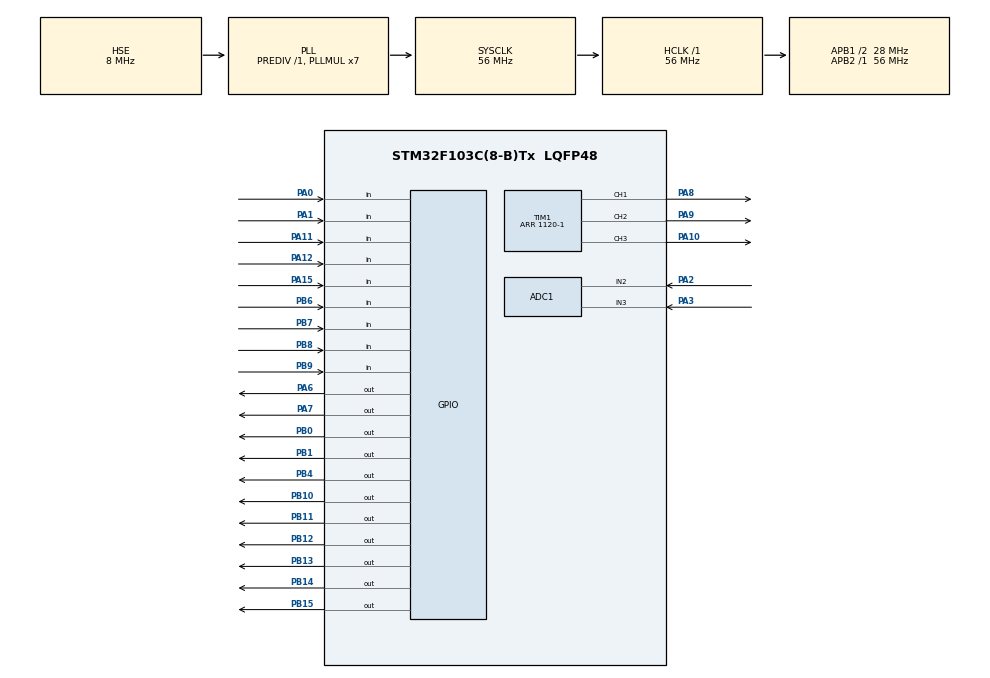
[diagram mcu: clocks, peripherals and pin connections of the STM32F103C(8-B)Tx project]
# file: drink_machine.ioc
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ADC1.Channel-0\#ChannelRegularConversion=ADC_CHANNEL_2
ADC1.Channel-1\#ChannelRegularConversion=ADC_CHANNEL_2
ADC1.Channel-10\#ChannelRegularConversion=ADC_CHANNEL_3
ADC1.Channel-11\#ChannelRegularConversion=ADC_CHANNEL_3
ADC1.Channel-12\#ChannelRegularConversion=ADC_CHANNEL_3
ADC1.Channel-13\#ChannelRegularConversion=ADC_CHANNEL_3
ADC1.Channel-14\#ChannelRegularConversion=ADC_CHANNEL_3
ADC1.Channel-15\#ChannelRegularConversion=ADC_CHANNEL_3
ADC1.Channel-2\#ChannelRegularConversion=ADC_CHANNEL_2
ADC1.Channel-3\#ChannelRegularConversion=ADC_CHANNEL_2
ADC1.Channel-4\#ChannelRegularConversion=ADC_CHANNEL_2
ADC1.Channel-5\#ChannelRegularConversion=ADC_CHANNEL_2
ADC1.Channel-6\#ChannelRegularConversion=ADC_CHANNEL_2
ADC1.Channel-7\#ChannelRegularConversion=ADC_CHANNEL_2
ADC1.Channel-8\#ChannelRegularConversion=ADC_CHANNEL_3
ADC1.Channel-9\#ChannelRegularConversion=ADC_CHANNEL_3
ADC1.ContinuousConvMode=ENABLE
ADC1.DiscontinuousConvMode=DISABLE
ADC1.NbrOfConversion=16
ADC1.NbrOfConversionFlag=1
ADC1.Rank-0\#ChannelRegularConversion=1
ADC1.Rank-1\#ChannelRegularConversion=2
ADC1.Rank-10\#ChannelRegularConversion=11
ADC1.Rank-11\#ChannelRegularConversion=12
ADC1.Rank-12\#ChannelRegularConversion=13
ADC1.Rank-13\#ChannelRegularConversion=14
ADC1.Rank-14\#ChannelRegularConversion=15
ADC1.Rank-15\#ChannelRegularConversion=16
ADC1.Rank-2\#ChannelRegularConversion=3
ADC1.Rank-3\#ChannelRegularConversion=4
ADC1.Rank-4\#ChannelRegularConversion=5
ADC1.Rank-5\#ChannelRegularConversion=6
ADC1.Rank-6\#ChannelRegularConversion=7
ADC1.Rank-7\#ChannelRegularConversion=8
ADC1.Rank-8\#ChannelRegularConversion=9
ADC1.Rank-9\#ChannelRegularConversion=10
ADC1.SamplingTime-0\#ChannelRegularConversion=ADC_SAMPLETIME_239CYCLES_5
ADC1.SamplingTime-1\#ChannelRegularConversion=ADC_SAMPLETIME_239CYCLES_5
ADC1.SamplingTime-10\#ChannelRegularConversion=ADC_SAMPLETIME_239CYCLES_5
ADC1.SamplingTime-11\#ChannelRegularConversion=ADC_SAMPLETIME_239CYCLES_5
ADC1.SamplingTime-12\#ChannelRegularConversion=ADC_SAMPLETIME_239CYCLES_5
ADC1.SamplingTime-13\#ChannelRegularConversion=ADC_SAMPLETIME_239CYCLES_5
ADC1.SamplingTime-14\#ChannelRegularConversion=ADC_SAMPLETIME_239CYCLES_5
ADC1.SamplingTime-15\#ChannelRegularConversion=ADC_SAMPLETIME_239CYCLES_5
ADC1.SamplingTime-2\#ChannelRegularConversion=ADC_SAMPLETIME_239CYCLES_5
ADC1.SamplingTime-3\#ChannelRegularConversion=ADC_SAMPLETIME_239CYCLES_5
ADC1.SamplingTime-4\#ChannelRegularConversion=ADC_SAMPLETIME_239CYCLES_5
ADC1.SamplingTime-5\#ChannelRegularConversion=ADC_SAMPLETIME_239CYCLES_5
ADC1.SamplingTime-6\#ChannelRegularConversion=ADC_SAMPLETIME_239CYCLES_5
ADC1.SamplingTime-7\#ChannelRegularConversion=ADC_SAMPLETIME_239CYCLES_5
ADC1.SamplingTime-8\#ChannelRegularConversion=ADC_SAMPLETIME_239CYCLES_5
ADC1.SamplingTime-9\#ChannelRegularConversion=ADC_SAMPLETIME_239CYCLES_5
ADC1.master=1
Dma.ADC1.0.Direction=DMA_PERIPH_TO_MEMORY
Dma.ADC1.0.Instance=DMA1_Channel1
Dma.ADC1.0.MemDataAlignment=DMA_MDATAALIGN_WORD
Dma.ADC1.0.MemInc=DMA_MINC_ENABLE
Dma.ADC1.0.Mode=DMA_CIRCULAR
Dma.ADC1.0.PeriphDataAlignment=DMA_PDATAALIGN_WORD
Dma.ADC1.0.PeriphInc=DMA_PINC_DISABLE
Dma.ADC1.0.Priority=DMA_PRIORITY_LOW
Dma.Request0=ADC1
Mcu.Family=STM32F1
Mcu.Name=STM32F103C(8-B)Tx
Mcu.Package=LQFP48
NVIC.DMA1_Channel1_IRQn=true\:0\:0\:false\:false\:true\:false\:true
NVIC.PriorityGroup=NVIC_PRIORITYGROUP_4
PA0-WKUP.GPIO_PuPd=GPIO_PULLDOWN
PA0-WKUP.Signal=GPIO_Input
PA1.GPIO_PuPd=GPIO_PULLDOWN
PA1.Signal=GPIO_Input
PA10.Signal=S_TIM1_CH3
PA11.GPIO_PuPd=GPIO_PULLDOWN
PA11.Signal=GPIO_Input
PA12.GPIO_PuPd=GPIO_PULLDOWN
PA12.Signal=GPIO_Input
PA13.Mode=Serial_Wire
PA13.Signal=SYS_JTMS-SWDIO
PA14.Mode=Serial_Wire
PA14.Signal=SYS_JTCK-SWCLK
PA15.GPIO_PuPd=GPIO_PULLDOWN
PA15.Signal=GPIO_Input
PA2.Signal=ADCx_IN2
PA3.Signal=ADCx_IN3
PA6.Signal=GPIO_Output
PA7.Signal=GPIO_Output
PA8.Signal=S_TIM1_CH1
PA9.Signal=S_TIM1_CH2
PB0.Signal=GPIO_Output
PB1.Signal=GPIO_Output
PB10.Signal=GPIO_Output
PB11.Signal=GPIO_Output
PB12.Signal=GPIO_Output
PB13.Signal=GPIO_Output
PB14.Signal=GPIO_Output
PB15.Signal=GPIO_Output
PB4.Signal=GPIO_Output
PB6.GPIO_PuPd=GPIO_PULLDOWN
PB6.Signal=GPIO_Input
PB7.GPIO_PuPd=GPIO_PULLDOWN
PB7.Signal=GPIO_Input
PB8.GPIO_PuPd=GPIO_PULLDOWN
PB8.Signal=GPIO_Input
PB9.GPIO_PuPd=GPIO_PULLDOWN
PB9.Signal=GPIO_Input
PD0-OSC_IN.Mode=HSE-External-Oscillator
PD0-OSC_IN.Signal=RCC_OSC_IN
PD1-OSC_OUT.Mode=HSE-External-Oscillator
PD1-OSC_OUT.Signal=RCC_OSC_OUT
ProjectManager.HeapSize=0x200
ProjectManager.StackSize=0x400
ProjectManager.TargetToolchain=STM32CubeIDE
RCC.ADCPresc=RCC_ADCPCLK2_DIV4
RCC.AHBFreq_Value=56000000
RCC.APB1CLKDivider=RCC_HCLK_DIV2
RCC.APB1Freq_Value=28000000
RCC.APB1TimFreq_Value=56000000
RCC.APB2Freq_Value=56000000
RCC.APB2TimFreq_Value=56000000
RCC.HCLKFreq_Value=56000000
RCC.PLLMUL=RCC_PLL_MUL7
RCC.PLLSourceVirtual=RCC_PLLSOURCE_HSE
RCC.SYSCLKFreq_VALUE=56000000
RCC.SYSCLKSource=RCC_SYSCLKSOURCE_PLLCLK
RCC.USBFreq_Value=56000000
SH.ADCx_IN2.0=ADC1_IN2,IN2
SH.ADCx_IN3.0=ADC1_IN3,IN3
SH.S_TIM1_CH1.0=TIM1_CH1,PWM Generation1 CH1
SH.S_TIM1_CH2.0=TIM1_CH2,PWM Generation2 CH2
SH.S_TIM1_CH3.0=TIM1_CH3,PWM Generation3 CH3
TIM1.AutoReloadPreload=TIM_AUTORELOAD_PRELOAD_ENABLE
TIM1.Channel-PWM\ Generation1\ CH1=TIM_CHANNEL_1
TIM1.Channel-PWM\ Generation2\ CH2=TIM_CHANNEL_2
TIM1.Channel-PWM\ Generation3\ CH3=TIM_CHANNEL_3
TIM1.Period=1120-1
VP_RTC_VS_RTC_Activate.Mode=RTC_Enabled
VP_TIM1_VS_ClockSourceINT.Mode=Internal
board=custom

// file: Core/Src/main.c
/* USER CODE BEGIN Header */
/**
 ******************************************************************************
 * @file           : main.c
 * @brief          : Main program body
 ******************************************************************************
 * @attention
 *
 * <h2><center>&copy; Copyright (c) 2020 STMicroelectronics.
 * All rights reserved.</center></h2>
 *
 * This software component is licensed by ST under BSD 3-Clause license,
 * the "License"; You may not use this file except in compliance with the
 * License. You may obtain a copy of the License at:
 *                        opensource.org/licenses/BSD-3-Clause
 *
 ******************************************************************************
 */
/* USER CODE END Header */
#include "main.h"

/* USER CODE BEGIN Includes */
#include "co2_cylinder.h"
#include "keyboard.h"
#include "lcd_display.h"
#include "optical_reader.h"
#include "temperature_sensors.h"
#include "water_filter.h"
#include "heater.h"
#include "cooler.h"
#include <stdio.h>
#include <stdlib.h>
#include <string.h>
/* USER CODE END Includes */

/* USER CODE BEGIN PTD */

typedef struct {
    uint16_t liquid_time;
    uint16_t co2_time;
    uint8_t temperature;
    char *description;
} drink_t;
/* USER CODE END PTD */

/* USER CODE BEGIN PD */

#define MAX_DUTY_CYCLE_VALUE 1120
#define CONTROL_TIME 50
#define ASCENDING_RAMP 200
#define DESCENDING_RAMP 250
#define HEARTBEAT_TIME 300

#define AGUA_GELADA_INDEX 0
#define AGUA_NATURAL_INDEX 1
#define AGUA_QUENTE_INDEX 2
#define AGUA_COM_GAS_INDEX 3
#define CHA_GELADO_INDEX 4
#define CHA_QUENTE_INDEX 5
#define REFRIGERANTE_INDEX 6
/* USER CODE END PD */

ADC_HandleTypeDef hadc1;
DMA_HandleTypeDef hdma_adc1;

RTC_HandleTypeDef hrtc;

TIM_HandleTypeDef htim1;

/* USER CODE BEGIN PV */
RTC_TimeTypeDef sTime;
uint32_t dutyCycle;
uint8_t capsule_id, water_filter, co2_cylinder, warnings, water_option, preparing;
uint8_t heater_temperature, cooler_temperature, adc_data_ready;

drink_t drinks[9] = {
    {.temperature = 15,
     .liquid_time = 3000,
     .co2_time = 0,
     .description = "   água gelada  "}, /* agua gelada */
    {.temperature = 0,
     .liquid_time = 3000,
     .co2_time = 0,
     .description = "  água natural  "}, /* agua natural */
    {.temperature = 60,
     .liquid_time = 3000,
     .co2_time = 0,
     .description = "   água quente  "}, /* agua quente */
    {.temperature = 15,
     .liquid_time = 3000,
     .co2_time = 1500,
     .description = "  água com gás  "}, /* agua com gas */
    {.temperature = 20,
     .liquid_time = 2700,
     .co2_time = 0,
     .description = "   chá gelado   "}, /* cha gelado */
    {.temperature = 60,
     .liquid_time = 2700,
     .co2_time = 0,
     .description = "   chá quente   "}, /* cha quente */
    {.temperature = 20,
     .liquid_time = 4000,
     .co2_time = 2560,
     .description = "  refrigerante  "} /* refrigerante */
};

/* USER CODE END PV */

void SystemClock_Config(void);
static void MX_GPIO_Init(void);
static void MX_DMA_Init(void);
static void MX_ADC1_Init(void);
static void MX_RTC_Init(void);
static void MX_TIM1_Init(void);
/* USER CODE BEGIN PFP */

void show_display(uint8_t view);
void prepare_drink(uint8_t index);

/* USER CODE END PFP */

int main(void) {
    /* USER CODE BEGIN 1 */
    uint32_t timer_heart = 0;
    uint8_t key = 0, drink_id = 0;
    /* USER CODE END 1 */

    /* MCU Configuration--------------------------------------------------------*/

    /* Reset of all peripherals, Initializes the Flash interface and the Systick. */
    HAL_Init();

    /* Configure the system clock */
    SystemClock_Config();

    /* Initialize all configured peripherals */
    MX_GPIO_Init();
    MX_DMA_Init();
    MX_ADC1_Init();
    MX_RTC_Init();
    MX_TIM1_Init();
    /* USER CODE BEGIN 2 */
    HAL_TIM_PWM_Start(&htim1, TIM_CHANNEL_1);
    HAL_TIM_PWM_Start(&htim1, TIM_CHANNEL_2);
    HAL_TIM_PWM_Start(&htim1, TIM_CHANNEL_3);
    HAL_ADCEx_Calibration_Start(&hadc1);
    HAL_ADC_Start_DMA(&hadc1, adc_data, NUMBER_OF_CONVERSIONS);
    lcd_init();
    //    sTime.Hours = 23;
    //    sTime.Minutes = 59;
    //    sTime.Seconds = 0;
    //    HAL_RTC_SetTime(&hrtc, &sTime, RTC_FORMAT_BIN);
    /* USER CODE END 2 */

    /* Infinite loop */
    /* USER CODE BEGIN WHILE */
    while (1) {
        // le as temperaturas do heater e do cooler
        read_temperature_sensors();

        if (!preparing) {

            // ler o codido da capsula
            if (!capsule_id) capsule_id = read_optical_code();

            // verificar se o filtro de agua esta saturado
            water_filter = water_filter_saturated();

            // verificar se o cilindro de co2 esta vazio
            co2_cylinder = co2_cylinder_empty();

            // configura avisos
            warnings = water_filter | (co2_cylinder << 1);

            // mostrar display
            switch (capsule_id) {
                    // bebidas com agua
                case 1: /* agua  */
                case 3: /* cha gelado */
                case 4: /* cha quente */
                    if (water_filter)
                        show_display(8);
                    else
                        show_display(capsule_id);
                    break;

                    // bebidas com agua e gas
                case 2: /* agua com gas */
                case 5: /* refrigerante */
                    if (water_filter)
                        show_display(8);
                    else if (co2_cylinder)
                        show_display(9);
                    else
                        show_display(capsule_id);
                    break;

                default: show_display(0); break;
            }

            // le o teclado
            key = read_keyboard();

            if (key == 0x04) {
                water_option = capsule_id = key = 0x00;
            } else if (key == 0x03) {
                switch (capsule_id) {
                    case 0x01: water_option = (water_option > 0) ? water_option - 1 : 2; break;
                }
            } else if (key == 0x02) {
                switch (capsule_id) {
                    case 0x01: water_option = (water_option < 2) ? water_option + 1 : 0; break;
                }
            } else if (key == 0x01) {
                switch (capsule_id) {
                        // bebidas com agua
                    case 1: /* agua  */
                        if (!water_filter) {
                            drink_id = water_option;
                            preparing = 1;
                        }
                        break;
                    case 3: /* cha gelado */
                        if (!water_filter) {
                            water_option = 0;
                            drink_id = CHA_GELADO_INDEX;
                            preparing = 1;
                        }
                        break;
                    case 4: /* cha quente */
                        if (!water_filter) {
                            water_option = 2;
                            drink_id = CHA_QUENTE_INDEX;
                            preparing = 1;
                        }
                        break;

                        // bebidas com agua e gas
                    case 2: /* agua com gas */
                        if (!(water_filter | co2_cylinder)) {
                            water_option = 0;
                            drink_id = AGUA_COM_GAS_INDEX;
                            preparing = 1;
                        }
                        break;
                    case 5: /* refrigerante */
                        if (!(water_filter | co2_cylinder)) {
                            water_option = 0;
                            drink_id = REFRIGERANTE_INDEX;
                            preparing = 1;
                        }
                        break;
                }
            }
        } else {
            prepare_drink(drink_id);
        }
        if (timer_heart < HAL_GetTick()) {
            HAL_GPIO_TogglePin(GPIOB, GPIO_PIN_4);
            timer_heart = HAL_GetTick() + HEARTBEAT_TIME;
        }

        /* USER CODE END WHILE */

        /* USER CODE BEGIN 3 */
    }
    lcd_sendText("Acabou");
    /* USER CODE END 3 */
}

void SystemClock_Config(void) {
    RCC_OscInitTypeDef RCC_OscInitStruct = {0};
    RCC_ClkInitTypeDef RCC_ClkInitStruct = {0};
    RCC_PeriphCLKInitTypeDef PeriphClkInit = {0};

    /** Initializes the RCC Oscillators according to the specified parameters
     * in the RCC_OscInitTypeDef structure.
     */
    RCC_OscInitStruct.OscillatorType = RCC_OSCILLATORTYPE_LSI | RCC_OSCILLATORTYPE_HSE;
    RCC_OscInitStruct.HSEState = RCC_HSE_ON;
    RCC_OscInitStruct.HSEPredivValue = RCC_HSE_PREDIV_DIV1;
    RCC_OscInitStruct.HSIState = RCC_HSI_ON;
    RCC_OscInitStruct.LSIState = RCC_LSI_ON;
    RCC_OscInitStruct.PLL.PLLState = RCC_PLL_ON;
    RCC_OscInitStruct.PLL.PLLSource = RCC_PLLSOURCE_HSE;
    RCC_OscInitStruct.PLL.PLLMUL = RCC_PLL_MUL7;
    if (HAL_RCC_OscConfig(&RCC_OscInitStruct) != HAL_OK) { Error_Handler(); }
    /** Initializes the CPU, AHB and APB buses clocks
     */
    RCC_ClkInitStruct.ClockType =
        RCC_CLOCKTYPE_HCLK | RCC_CLOCKTYPE_SYSCLK | RCC_CLOCKTYPE_PCLK1 | RCC_CLOCKTYPE_PCLK2;
    RCC_ClkInitStruct.SYSCLKSource = RCC_SYSCLKSOURCE_PLLCLK;
    RCC_ClkInitStruct.AHBCLKDivider = RCC_SYSCLK_DIV1;
    RCC_ClkInitStruct.APB1CLKDivider = RCC_HCLK_DIV2;
    RCC_ClkInitStruct.APB2CLKDivider = RCC_HCLK_DIV1;

    if (HAL_RCC_ClockConfig(&RCC_ClkInitStruct, FLASH_LATENCY_2) != HAL_OK) { Error_Handler(); }
    PeriphClkInit.PeriphClockSelection = RCC_PERIPHCLK_RTC | RCC_PERIPHCLK_ADC;
    PeriphClkInit.RTCClockSelection = RCC_RTCCLKSOURCE_LSI;
    PeriphClkInit.AdcClockSelection = RCC_ADCPCLK2_DIV4;
    if (HAL_RCCEx_PeriphCLKConfig(&PeriphClkInit) != HAL_OK) { Error_Handler(); }
}

static void MX_ADC1_Init(void) {

    ADC_ChannelConfTypeDef sConfig = {0};

    /** Common config
     */
    hadc1.Instance = ADC1;
    hadc1.Init.ScanConvMode = ADC_SCAN_ENABLE;
    hadc1.Init.ContinuousConvMode = ENABLE;
    hadc1.Init.DiscontinuousConvMode = DISABLE;
    hadc1.Init.ExternalTrigConv = ADC_SOFTWARE_START;
    hadc1.Init.DataAlign = ADC_DATAALIGN_RIGHT;
    hadc1.Init.NbrOfConversion = 16;
    if (HAL_ADC_Init(&hadc1) != HAL_OK) { Error_Handler(); }
    /** Configure Regular Channel
     */
    sConfig.Channel = ADC_CHANNEL_2;
    sConfig.Rank = ADC_REGULAR_RANK_1;
    sConfig.SamplingTime = ADC_SAMPLETIME_239CYCLES_5;
    if (HAL_ADC_ConfigChannel(&hadc1, &sConfig) != HAL_OK) { Error_Handler(); }
    /** Configure Regular Channel
     */
    sConfig.Rank = ADC_REGULAR_RANK_2;
    if (HAL_ADC_ConfigChannel(&hadc1, &sConfig) != HAL_OK) { Error_Handler(); }
    /** Configure Regular Channel
     */
    sConfig.Rank = ADC_REGULAR_RANK_3;
    if (HAL_ADC_ConfigChannel(&hadc1, &sConfig) != HAL_OK) { Error_Handler(); }
    /** Configure Regular Channel
     */
    sConfig.Rank = ADC_REGULAR_RANK_4;
    if (HAL_ADC_ConfigChannel(&hadc1, &sConfig) != HAL_OK) { Error_Handler(); }
    /** Configure Regular Channel
     */
    sConfig.Rank = ADC_REGULAR_RANK_5;
    if (HAL_ADC_ConfigChannel(&hadc1, &sConfig) != HAL_OK) { Error_Handler(); }
    /** Configure Regular Channel
     */
    sConfig.Rank = ADC_REGULAR_RANK_6;
    if (HAL_ADC_ConfigChannel(&hadc1, &sConfig) != HAL_OK) { Error_Handler(); }
    /** Configure Regular Channel
     */
    sConfig.Rank = ADC_REGULAR_RANK_7;
    if (HAL_ADC_ConfigChannel(&hadc1, &sConfig) != HAL_OK) { Error_Handler(); }
    /** Configure Regular Channel
     */
    sConfig.Rank = ADC_REGULAR_RANK_8;
    if (HAL_ADC_ConfigChannel(&hadc1, &sConfig) != HAL_OK) { Error_Handler(); }
    /** Configure Regular Channel
     */
    sConfig.Channel = ADC_CHANNEL_3;
    sConfig.Rank = ADC_REGULAR_RANK_9;
    if (HAL_ADC_ConfigChannel(&hadc1, &sConfig) != HAL_OK) { Error_Handler(); }
    /** Configure Regular Channel
     */
    sConfig.Rank = ADC_REGULAR_RANK_10;
    if (HAL_ADC_ConfigChannel(&hadc1, &sConfig) != HAL_OK) { Error_Handler(); }
    /** Configure Regular Channel
     */
    sConfig.Rank = ADC_REGULAR_RANK_11;
    if (HAL_ADC_ConfigChannel(&hadc1, &sConfig) != HAL_OK) { Error_Handler(); }
    /** Configure Regular Channel
     */
    sConfig.Rank = ADC_REGULAR_RANK_12;
    if (HAL_ADC_ConfigChannel(&hadc1, &sConfig) != HAL_OK) { Error_Handler(); }
    /** Configure Regular Channel
     */
    sConfig.Rank = ADC_REGULAR_RANK_13;
    if (HAL_ADC_ConfigChannel(&hadc1, &sConfig) != HAL_OK) { Error_Handler(); }
    /** Configure Regular Channel
     */
    sConfig.Rank = ADC_REGULAR_RANK_14;
    if (HAL_ADC_ConfigChannel(&hadc1, &sConfig) != HAL_OK) { Error_Handler(); }
    /** Configure Regular Channel
     */
    sConfig.Rank = ADC_REGULAR_RANK_15;
    if (HAL_ADC_ConfigChannel(&hadc1, &sConfig) != HAL_OK) { Error_Handler(); }
    /** Configure Regular Channel
     */
    sConfig.Rank = ADC_REGULAR_RANK_16;
    if (HAL_ADC_ConfigChannel(&hadc1, &sConfig) != HAL_OK) { Error_Handler(); }
}

static void MX_RTC_Init(void) {

    /** Initialize RTC Only
     */
    hrtc.Instance = RTC;
    hrtc.Init.AsynchPrediv = RTC_AUTO_1_SECOND;
    hrtc.Init.OutPut = RTC_OUTPUTSOURCE_ALARM;
    if (HAL_RTC_Init(&hrtc) != HAL_OK) { Error_Handler(); }
}

static void MX_TIM1_Init(void) {

    TIM_ClockConfigTypeDef sClockSourceConfig = {0};
    TIM_MasterConfigTypeDef sMasterConfig = {0};
    TIM_OC_InitTypeDef sConfigOC = {0};
    TIM_BreakDeadTimeConfigTypeDef sBreakDeadTimeConfig = {0};

    htim1.Instance = TIM1;
    htim1.Init.Prescaler = 0;
    htim1.Init.CounterMode = TIM_COUNTERMODE_UP;
    htim1.Init.Period = 1120 - 1;
    htim1.Init.ClockDivision = TIM_CLOCKDIVISION_DIV1;
    htim1.Init.RepetitionCounter = 0;
    htim1.Init.AutoReloadPreload = TIM_AUTORELOAD_PRELOAD_ENABLE;
    if (HAL_TIM_Base_Init(&htim1) != HAL_OK) { Error_Handler(); }
    sClockSourceConfig.ClockSource = TIM_CLOCKSOURCE_INTERNAL;
    if (HAL_TIM_ConfigClockSource(&htim1, &sClockSourceConfig) != HAL_OK) { Error_Handler(); }
    if (HAL_TIM_PWM_Init(&htim1) != HAL_OK) { Error_Handler(); }
    sMasterConfig.MasterOutputTrigger = TIM_TRGO_RESET;
    sMasterConfig.MasterSlaveMode = TIM_MASTERSLAVEMODE_DISABLE;
    if (HAL_TIMEx_MasterConfigSynchronization(&htim1, &sMasterConfig) != HAL_OK) {
        Error_Handler();
    }
    sConfigOC.OCMode = TIM_OCMODE_PWM1;
    sConfigOC.Pulse = 0;
    sConfigOC.OCPolarity = TIM_OCPOLARITY_HIGH;
    sConfigOC.OCNPolarity = TIM_OCNPOLARITY_HIGH;
    sConfigOC.OCFastMode = TIM_OCFAST_DISABLE;
    sConfigOC.OCIdleState = TIM_OCIDLESTATE_RESET;
    sConfigOC.OCNIdleState = TIM_OCNIDLESTATE_RESET;
    if (HAL_TIM_PWM_ConfigChannel(&htim1, &sConfigOC, TIM_CHANNEL_1) != HAL_OK) { Error_Handler(); }
    if (HAL_TIM_PWM_ConfigChannel(&htim1, &sConfigOC, TIM_CHANNEL_2) != HAL_OK) { Error_Handler(); }
    if (HAL_TIM_PWM_ConfigChannel(&htim1, &sConfigOC, TIM_CHANNEL_3) != HAL_OK) { Error_Handler(); }
    sBreakDeadTimeConfig.OffStateRunMode = TIM_OSSR_DISABLE;
    sBreakDeadTimeConfig.OffStateIDLEMode = TIM_OSSI_DISABLE;
    sBreakDeadTimeConfig.LockLevel = TIM_LOCKLEVEL_OFF;
    sBreakDeadTimeConfig.DeadTime = 0;
    sBreakDeadTimeConfig.BreakState = TIM_BREAK_DISABLE;
    sBreakDeadTimeConfig.BreakPolarity = TIM_BREAKPOLARITY_HIGH;
    sBreakDeadTimeConfig.AutomaticOutput = TIM_AUTOMATICOUTPUT_DISABLE;
    if (HAL_TIMEx_ConfigBreakDeadTime(&htim1, &sBreakDeadTimeConfig) != HAL_OK) { Error_Handler(); }
    HAL_TIM_MspPostInit(&htim1);
}

static void MX_DMA_Init(void) {

    /* DMA controller clock enable */
    __HAL_RCC_DMA1_CLK_ENABLE();

    /* DMA interrupt init */
    /* DMA1_Channel1_IRQn interrupt configuration */
    HAL_NVIC_SetPriority(DMA1_Channel1_IRQn, 0, 0);
    HAL_NVIC_EnableIRQ(DMA1_Channel1_IRQn);
}

static void MX_GPIO_Init(void) {
    GPIO_InitTypeDef GPIO_InitStruct = {0};

    /* GPIO Ports Clock Enable */
    __HAL_RCC_GPIOD_CLK_ENABLE();
    __HAL_RCC_GPIOA_CLK_ENABLE();
    __HAL_RCC_GPIOB_CLK_ENABLE();

    /*Configure GPIO pin Output Level */
    HAL_GPIO_WritePin(GPIOA, GPIO_PIN_6 | GPIO_PIN_7, GPIO_PIN_RESET);

    /*Configure GPIO pin Output Level */
    HAL_GPIO_WritePin(GPIOB,
                      GPIO_PIN_0 | GPIO_PIN_1 | GPIO_PIN_10 | GPIO_PIN_11 | GPIO_PIN_12 |
                          GPIO_PIN_13 | GPIO_PIN_14 | GPIO_PIN_15 | GPIO_PIN_4,
                      GPIO_PIN_RESET);

    /*Configure GPIO pins : PA0 PA1 PA11 PA12
                             PA15 */
    GPIO_InitStruct.Pin = GPIO_PIN_0 | GPIO_PIN_1 | GPIO_PIN_11 | GPIO_PIN_12 | GPIO_PIN_15;
    GPIO_InitStruct.Mode = GPIO_MODE_INPUT;
    GPIO_InitStruct.Pull = GPIO_PULLDOWN;
    HAL_GPIO_Init(GPIOA, &GPIO_InitStruct);

    /*Configure GPIO pins : PA6 PA7 */
    GPIO_InitStruct.Pin = GPIO_PIN_6 | GPIO_PIN_7;
    GPIO_InitStruct.Mode = GPIO_MODE_OUTPUT_PP;
    GPIO_InitStruct.Pull = GPIO_NOPULL;
    GPIO_InitStruct.Speed = GPIO_SPEED_FREQ_LOW;
    HAL_GPIO_Init(GPIOA, &GPIO_InitStruct);

    /*Configure GPIO pins : PB0 PB1 PB10 PB11
                             PB12 PB13 PB14 PB15
                             PB4 */
    GPIO_InitStruct.Pin = GPIO_PIN_0 | GPIO_PIN_1 | GPIO_PIN_10 | GPIO_PIN_11 | GPIO_PIN_12 |
                          GPIO_PIN_13 | GPIO_PIN_14 | GPIO_PIN_15 | GPIO_PIN_4;
    GPIO_InitStruct.Mode = GPIO_MODE_OUTPUT_PP;
    GPIO_InitStruct.Pull = GPIO_NOPULL;
    GPIO_InitStruct.Speed = GPIO_SPEED_FREQ_LOW;
    HAL_GPIO_Init(GPIOB, &GPIO_InitStruct);

    /*Configure GPIO pins : PB6 PB7 PB8 PB9 */
    GPIO_InitStruct.Pin = GPIO_PIN_6 | GPIO_PIN_7 | GPIO_PIN_8 | GPIO_PIN_9;
    GPIO_InitStruct.Mode = GPIO_MODE_INPUT;
    GPIO_InitStruct.Pull = GPIO_PULLDOWN;
    HAL_GPIO_Init(GPIOB, &GPIO_InitStruct);
}

/* USER CODE BEGIN 4 */

/**
 * @brief Funcao de callback do dma
 *
 * @param hadc adc handle
 *  @retval None
 */
void HAL_ADC_ConvCpltCallback(ADC_HandleTypeDef *hadc) { adc_data_ready = 1; }

/**
 * @brief Mostra uma tela no display de acordo com o id
 *
 * @param view A tela a ser mostrada
 */
void show_display(uint8_t view) {
    char lcd_text[2][33];
    switch (view) {
            // escolha de liquido
        case 1:

        	strcpy(lcd_text[0], "      água      ");
            switch (water_option) {
                case 0: strcpy(lcd_text[1], " <   gelada   > "); break;
                case 1: strcpy(lcd_text[1], " <   natural  > "); break;
                case 2: strcpy(lcd_text[1], " <   quente   > "); break;

                default: sprintf(lcd_text[1], " <   natural  > "); break;
            }
            break;

        case 2:
        case 3:
        case 4:
        case 5:
            strcpy(lcd_text[0], drinks[view + 1].description);
            strcpy(lcd_text[1], "   Confirmar ?  ");
            break;

        // avisos
        case 8:
        	strcpy(lcd_text[0], " filtro de agua ");
        	strcpy(lcd_text[1], "    saturado    ");
            break;

        case 9:
        	strcpy(lcd_text[0], "  cilindro Co2  ");
        	strcpy(lcd_text[1], "     vazio      ");
            break;

        case 10:
        	if (capsule_id == 1)
        		strcpy(lcd_text[0], drinks[water_option].description);
			else
        		strcpy(lcd_text[0], drinks[capsule_id + 1].description);
			sprintf(lcd_text[1], " resfriando t=%02d ", cooler_temperature);
            break;

        case 11:
        	if (capsule_id == 1)
				strcpy(lcd_text[0], drinks[water_option].description);
			else
				strcpy(lcd_text[0], drinks[capsule_id + 1].description);
			strcpy(lcd_text[1], "   preparando   ");
            break;

        case 12:
        	if (capsule_id == 1)
				strcpy(lcd_text[0], drinks[water_option].description);
			else
				strcpy(lcd_text[0], drinks[capsule_id + 1].description);
            sprintf(lcd_text[1], " aquecendo t=%02d ", heater_temperature);
            break;

        default:
            HAL_RTC_GetTime(&hrtc, &sTime, RTC_FORMAT_BIN);
            sprintf(lcd_text[0], " hora: %02d:%02d:%02d ", sTime.Hours, sTime.Minutes,
                    sTime.Seconds);
            switch (warnings) {
                case 3: strcpy(lcd_text[1], " !água!   !co2! "); break;
                case 2: strcpy(lcd_text[1], "     !co2!      "); break;
                case 1: strcpy(lcd_text[1], "     !água!     "); break;

                default: strcpy(lcd_text[1], "                "); break;
            }
            break;
    }
    lcd_setCursor(0, 0);
    lcd_sendText(lcd_text[0]);
    lcd_setCursor(1, 0);
    lcd_sendText(lcd_text[1]);
}

/**
 * @brief Prepara a bebida
 *
 * @param index O index da bebida a ser preparada
 */
void prepare_drink(uint8_t index) {
    static uint32_t time0, time1, time2, time3, time4, timer1 = 0, timer;
    uint16_t duty_cycle = 0;
    static uint8_t valve;
    if (preparing) {
        if (timer1 < HAL_GetTick()) {
            timer1 = HAL_GetTick() + CONTROL_TIME;
            switch (water_option) {
                case 0:
                    if (preparing == 1) show_display(10);
                    set_cooler_temperture(drinks[index].temperature);
                    if (preparing == 1 && abs(cooler_temperature - drinks[index].temperature) < 2) {
                        preparing = 2;
                        valve = 0;
                        show_display(11);
                        time0 = HAL_GetTick();
                        time1 = time0 + ASCENDING_RAMP;
                        time2 = time0 + drinks[index].liquid_time - DESCENDING_RAMP;
                        time3 = time0 + drinks[index].liquid_time;
                        time4 = time0 + drinks[index].co2_time;
                    }
                    break;
                case 1:
                    if (preparing == 1) {
                        preparing = 2;
                        valve = 1;
                        show_display(11);
                        time0 = HAL_GetTick();
                        time1 = time0 + ASCENDING_RAMP;
                        time2 = time0 + drinks[index].liquid_time - DESCENDING_RAMP;
                        time3 = time0 + drinks[index].liquid_time;
                        time4 = time0 + drinks[index].co2_time;
                    }

                    break;
                case 2:
                    if (preparing == 1) show_display(12);
                    set_heater_temperture(drinks[index].temperature);
                    if (preparing == 1 && abs(heater_temperature - drinks[index].temperature) < 2) {
                        preparing = 2;
                        valve = 2;
                        show_display(11);
                        time0 = HAL_GetTick();
                        time1 = time0 + ASCENDING_RAMP;
                        time2 = time0 + drinks[index].liquid_time - DESCENDING_RAMP;
                        time3 = time0 + drinks[index].liquid_time;
                        time4 = time0 + drinks[index].co2_time;
                    }
                    break;
            }
        }

        if (preparing == 2) {
            timer = HAL_GetTick();

            // controle valvula co2
            if (timer < time4)
                HAL_GPIO_WritePin(GPIOB, GPIO_PIN_1, GPIO_PIN_SET);
            else
                HAL_GPIO_WritePin(GPIOB, GPIO_PIN_1, GPIO_PIN_RESET);
            switch (valve) {
                case 0:
                    if (timer < time3)
                        HAL_GPIO_WritePin(GPIOA, GPIO_PIN_6, GPIO_PIN_SET);
                    else
                        HAL_GPIO_WritePin(GPIOA, GPIO_PIN_6, GPIO_PIN_RESET);
                    break;
                case 1:
                    if (timer < time3)
                        HAL_GPIO_WritePin(GPIOA, GPIO_PIN_7, GPIO_PIN_SET);
                    else
                        HAL_GPIO_WritePin(GPIOA, GPIO_PIN_7, GPIO_PIN_RESET);
                    break;
                case 2:
                    if (timer < time3)
                        HAL_GPIO_WritePin(GPIOB, GPIO_PIN_0, GPIO_PIN_SET);
                    else
                        HAL_GPIO_WritePin(GPIOB, GPIO_PIN_0, GPIO_PIN_RESET);
                    break;
            }
            //  rampa de subida
            if (timer < time1)
                //            	duty_cycle = MAX_DUTY_CYCLE_VALUE / 2;
                duty_cycle = (timer - time0) * MAX_DUTY_CYCLE_VALUE / ASCENDING_RAMP;
            //
            else if (timer < time2)
                //                duty_cycle = MAX_DUTY_CYCLE_VALUE;
                duty_cycle = MAX_DUTY_CYCLE_VALUE;
            // rampa de descida
            else if (timer < time3)
                //                duty_cycle = MAX_DUTY_CYCLE_VALUE / 2;
                duty_cycle = (timer - time2) * MAX_DUTY_CYCLE_VALUE / DESCENDING_RAMP;
            else {
                TIM1->CCR1 = TIM1->CCR2 = TIM1->CCR3 = capsule_id = preparing = 0;
                return;
            }

            TIM1->CCR1 = duty_cycle;
            //            TIM1->CCR1 = MAX_DUTY_CYCLE_VALUE;
        }
    }
}

/* USER CODE END 4 */

void Error_Handler(void) {
    __disable_irq();
    while (1) {}
}

/************************ (C) COPYRIGHT STMicroelectronics *****END OF FILE****/
